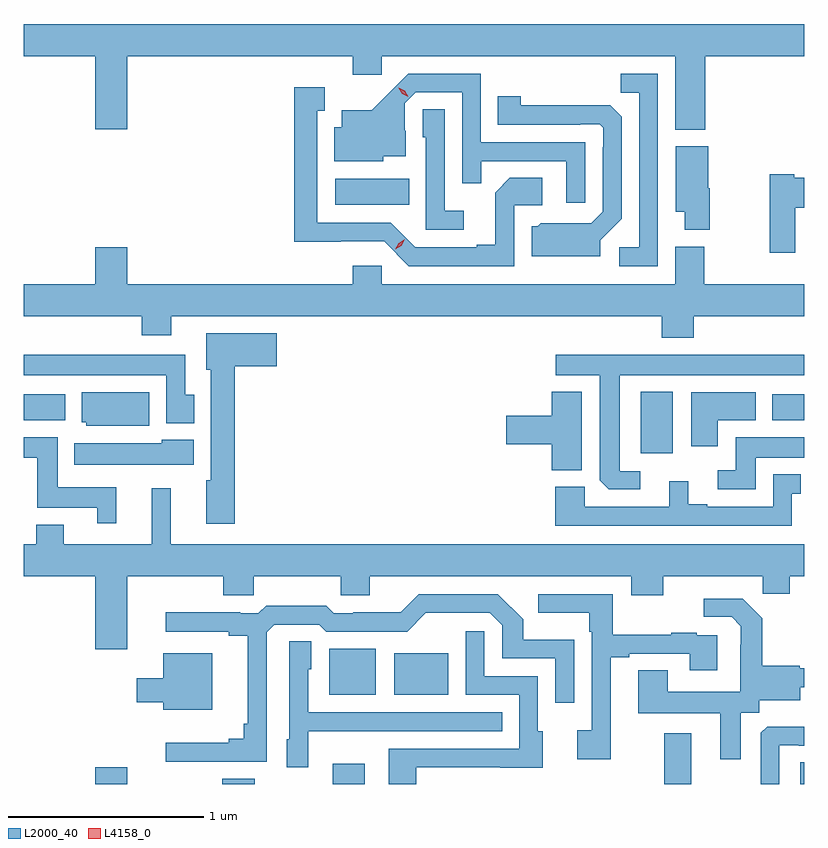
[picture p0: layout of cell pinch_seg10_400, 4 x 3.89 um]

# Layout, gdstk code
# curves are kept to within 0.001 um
import gdstk
lib = gdstk.Library(unit=1e-6, precision=1e-09)
def R(c, l, rs):  # rectangles x0, y0, x1, y1
    for r in rs: c.add(gdstk.rectangle(r[:2], r[2:], *l))
def P(c, l, *ps):  # polygons
    for p in ps: c.add(gdstk.Polygon(p, *l))
L2000_40 = (2000, 40)
L4158_0 = (4158, 0)

pinch_seg10_400 = lib.new_cell('pinch_seg10_400')
R(pinch_seg10_400, L2000_40, [(392.78,1293.923,392.944,1294.009), (393.431,1293.923,393.595,1293.949), (393.995,1293.923,394.159,1294.027), (395.693,1293.923,395.833,1294.183), (396.39,1293.923,396.412,1294.034), (393.977,1294.379,394.216,1294.615), (394.31,1294.379,394.588,1294.594), (395.573,1295.616,395.737,1295.932), (392.412,1295.786,392.626,1295.92), (396.248,1295.786,396.412,1295.92), (394.008,1296.89,394.388,1297.024)])
P(pinch_seg10_400, L2000_40, [(395.903,1297.652),(396.412,1297.652),(396.412,1297.816),(392.412,1297.816),(392.412,1297.652),(392.78,1297.652),(392.78,1297.278),(392.944,1297.278),(392.944,1297.652),(394.097,1297.652),(394.097,1297.557),(394.248,1297.557),(394.248,1297.652),(395.75,1297.652),(395.75,1297.274),(395.903,1297.274)],
  [(395.661,1297.56),(395.47,1297.56),(395.47,1297.465),(395.565,1297.465),(395.565,1296.672),(395.463,1296.672),(395.463,1296.576),(395.661,1296.576)],
  [(395.289,1297.209),(394.755,1297.209),(394.755,1297.56),(394.382,1297.56),(394.195,1297.375),(394.043,1297.375),(394.043,1297.288),(394.004,1297.288),(394.004,1297.112),(394.254,1297.112),(394.254,1297.139),(394.369,1297.139),(394.369,1297.268),(394.365,1297.268),(394.365,1297.41),(394.422,1297.467),(394.659,1297.467),(394.659,1297),(394.757,1297),(394.757,1297.113),(395.193,1297.113),(395.193,1296.9),(395.289,1296.9)],
  [(394.926,1296.888),(395.068,1296.888),(395.068,1297.028),(394.903,1297.028),(394.827,1296.952),(394.827,1296.685),(394.733,1296.685),(394.733,1296.672),(394.419,1296.672),(394.293,1296.798),(393.916,1296.798),(393.916,1297.371),(393.955,1297.371),(393.955,1297.492),(393.798,1297.492),(393.798,1296.701),(394.26,1296.702),(394.386,1296.576),(394.926,1296.576)],
  [(395.365,1296.708),(395.475,1296.818),(395.475,1297.34),(395.416,1297.399),(394.959,1297.4),(394.959,1297.447),(394.84,1297.447),(394.84,1297.299),(395.264,1297.299),(395.264,1297.302),(395.364,1297.302),(395.382,1297.284),(395.382,1297.184),(395.379,1297.184),(395.379,1296.855),(395.319,1296.795),(395.062,1296.796),(395.046,1296.78),(395.015,1296.78),(395.015,1296.626),(395.365,1296.626)],
  [(394.666,1296.859),(394.569,1296.859),(394.569,1297.379),(394.458,1297.379),(394.458,1297.236),(394.473,1297.236),(394.473,1296.762),(394.666,1296.762)],
  [(395.928,1296.975),(395.92,1296.975),(395.92,1297.189),(395.753,1297.189),(395.753,1296.854),(395.798,1296.854),(395.798,1296.761),(395.928,1296.761)],
  [(396.364,1296.875),(396.412,1296.875),(396.412,1297.028),(396.36,1297.028),(396.36,1297.046),(396.235,1297.046),(396.235,1296.645),(396.364,1296.645)],
  [(395.846,1296.32),(396.412,1296.32),(396.412,1296.484),(395.898,1296.484),(395.898,1296.676),(395.75,1296.676),(395.75,1296.484),(394.248,1296.484),(394.248,1296.577),(394.097,1296.577),(394.097,1296.484),(392.944,1296.484),(392.944,1296.673),(392.78,1296.673),(392.78,1296.484),(392.412,1296.484),(392.412,1296.32),(393.017,1296.32),(393.017,1296.221),(393.169,1296.221),(393.169,1296.32),(395.681,1296.32),(395.681,1296.209),(395.846,1296.209)],
  [(393.494,1296.062),(393.709,1296.062),(393.709,1296.232),(393.347,1296.232),(393.347,1296.045),(393.371,1296.045),(393.371,1295.478),(393.347,1295.478),(393.347,1295.256),(393.494,1295.256)],
  [(393.286,1295.916),(393.241,1295.916),(393.241,1296.121),(392.412,1296.121),(392.412,1296.017),(393.144,1296.017),(393.144,1295.772),(393.286,1295.772)],
  [(395.572,1295.526),(395.467,1295.526),(395.467,1296.017),(396.412,1296.017),(396.412,1296.121),(395.139,1296.121),(395.139,1296.017),(395.363,1296.017),(395.364,1295.479),(395.41,1295.433),(395.572,1295.433)],
  [(395.272,1295.932),(395.117,1295.932),(395.117,1295.81),(394.884,1295.81),(394.884,1295.663),(395.117,1295.663),(395.117,1295.531),(395.272,1295.531)],
  [(395.968,1295.786),(396.163,1295.786),(396.163,1295.929),(395.831,1295.929),(395.831,1295.652),(395.968,1295.652)],
  [(393.055,1295.929),(392.711,1295.929),(392.711,1295.775),(392.733,1295.775),(392.733,1295.759),(393.055,1295.759)],
  [(396.163,1295.594),(396.412,1295.594),(396.412,1295.698),(396.059,1295.698),(396.059,1295.529),(395.967,1295.529),(395.967,1295.433),(396.163,1295.433)],
  [(392.888,1295.443),(392.587,1295.443),(392.587,1295.698),(392.412,1295.698),(392.412,1295.594),(392.483,1295.594),(392.483,1295.339),(392.789,1295.339),(392.789,1295.259),(392.888,1295.259)],
  [(393.283,1295.686),(393.12,1295.686),(393.12,1295.668),(392.672,1295.668),(392.672,1295.558),(393.283,1295.558)],
  [(396.348,1295.409),(396.394,1295.409),(396.394,1295.509),(396.252,1295.509),(396.252,1295.343),(395.914,1295.343),(395.914,1295.356),(395.818,1295.356),(395.818,1295.473),(395.72,1295.473),(395.72,1295.343),(395.286,1295.343),(395.286,1295.446),(395.135,1295.446),(395.135,1295.247),(396.348,1295.247)],
  [(392.944,1294.988),(393.436,1294.988),(393.436,1294.89),(393.591,1294.89),(393.591,1294.988),(394.036,1294.988),(394.036,1294.89),(394.186,1294.89),(394.186,1294.988),(395.525,1294.988),(395.525,1294.889),(395.689,1294.889),(395.689,1294.988),(396.199,1294.988),(396.199,1294.898),(396.337,1294.898),(396.337,1294.988),(396.412,1294.988),(396.412,1295.152),(393.167,1295.152),(393.167,1295.437),(393.068,1295.437),(393.068,1295.152),(392.617,1295.152),(392.617,1295.251),(392.477,1295.251),(392.477,1295.152),(392.412,1295.152),(392.412,1294.988),(392.78,1294.988),(392.78,1294.614),(392.944,1294.614)],
  [(395.419,1294.572),(395.515,1294.572),(395.515,1294.59),(395.825,1294.59),(395.825,1294.506),(395.965,1294.506),(395.965,1294.686),(395.861,1294.686),(395.861,1294.699),(395.729,1294.699),(395.729,1294.688),(395.431,1294.688),(395.431,1294.896),(395.049,1294.896),(395.049,1294.799),(395.31,1294.799),(395.31,1294.703),(395.322,1294.703),(395.322,1294.198),(395.247,1294.198),(395.247,1294.05),(395.419,1294.05)],
  [(393.657,1294.701),(393.696,1294.74),(393.927,1294.74),(393.963,1294.704),(394.377,1294.704),(394.472,1294.799),(394.8,1294.8),(394.863,1294.737),(394.863,1294.566),(395.136,1294.566),(395.136,1294.338),(395.232,1294.338),(395.232,1294.663),(394.971,1294.663),(394.971,1294.766),(394.84,1294.896),(394.437,1294.896),(394.343,1294.802),(394.102,1294.802),(394.102,1294.797),(394.002,1294.797),(393.963,1294.837),(393.655,1294.837),(393.615,1294.797),(393.521,1294.797),(393.521,1294.802),(393.141,1294.802),(393.141,1294.704),(393.464,1294.704),(393.464,1294.682),(393.56,1294.682),(393.56,1294.231),(393.541,1294.231),(393.541,1294.154),(393.464,1294.154),(393.464,1294.135),(393.141,1294.135),(393.141,1294.038),(393.657,1294.038)],
  [(396.085,1294.288),(396.18,1294.288),(396.18,1294.352),(396.391,1294.352),(396.391,1294.419),(396.412,1294.419),(396.412,1294.515),(396.387,1294.515),(396.387,1294.528),(396.195,1294.528),(396.195,1294.773),(396.095,1294.873),(395.895,1294.873),(395.895,1294.779),(396.039,1294.779),(396.086,1294.732),(396.086,1294.637),(396.084,1294.637),(396.084,1294.396),(395.713,1294.396),(395.713,1294.505),(395.561,1294.505),(395.561,1294.286),(395.981,1294.286),(395.981,1294.05),(396.085,1294.05)],
  [(394.423,1294.008),(394.853,1294.008),(394.853,1294.007),(395.071,1294.007),(395.071,1294.194),(395.046,1294.194),(395.046,1294.476),(394.773,1294.476),(394.773,1294.705),(394.677,1294.705),(394.677,1294.38),(394.95,1294.38),(394.95,1294.104),(394.283,1294.104),(394.283,1293.923),(394.423,1293.923)],
  [(393.87,1294.193),(394.187,1294.193),(394.187,1294.194),(394.865,1294.194),(394.865,1294.29),(393.87,1294.29),(393.87,1294.512),(393.886,1294.512),(393.886,1294.655),(393.774,1294.655),(393.774,1294.152),(393.761,1294.152),(393.761,1294.008),(393.87,1294.008)],
  [(393.379,1294.594),(393.128,1294.594),(393.128,1294.465),(392.991,1294.465),(392.991,1294.343),(393.128,1294.343),(393.128,1294.304),(393.379,1294.304)],
  [(396.282,1294.122),(396.382,1294.122),(396.382,1294.119),(396.412,1294.119),(396.412,1294.217),(396.221,1294.217),(396.189,1294.185),(396.189,1293.923),(396.282,1293.923)])
P(pinch_seg10_400, L4158_0, [(394.382,1297.444),(394.351,1297.459),(394.334,1297.488),(394.334,1297.489),(394.334,1297.489),(394.365,1297.473),(394.382,1297.444),(394.382,1297.444)],
  [(394.316,1296.661),(394.316,1296.661),(394.333,1296.694),(394.364,1296.713),(394.364,1296.713),(394.364,1296.713),(394.347,1296.68),(394.316,1296.661)])

lib.write_gds('pinch_seg10_400.gds')
